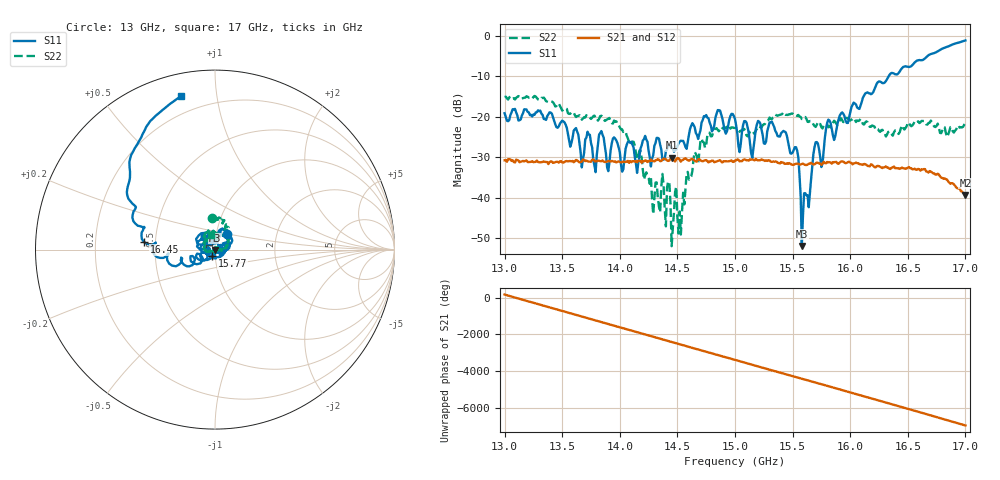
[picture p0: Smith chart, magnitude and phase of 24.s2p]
!Keysight Technologies,P9374A,MY57211807,A.19.30.04
!Date: Friday, May 01, 2026 14:44:55
!Correction: S11(C  2-Port  )
!S21(C  2-Port  )
!S12(C  2-Port  )
!S22(C  2-Port  )
!S2P File: Measurements: S11, S21, S12, S22:
# Hz S  RI  R 50
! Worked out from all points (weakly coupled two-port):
!   401 points, 13 GHz to 17 GHz, reference 50 ohm
!   highest |S21| = -30.12 dB at 14.45 GHz (marker M1); lowest = -39.3 dB at 17 GHz (marker M2)
!   lowest |S11| = -51.9 dB at 15.58 GHz (marker M3), VSWR 1.01, Z = 49.9 - j0.228 ohm
!   |S11| at or under -10 dB: start of sweep to 16.33 GHz
!   |S22| runs from -52.0 to -14.9 dB; largest |S21 - S12| = 0.0011
!   S11 on the Smith chart (normalised r, x): 13 GHz: 1.13, +0.20; 15.77 GHz: 0.97, -0.07; 16.45 GHz: 0.43, +0.04; 17 GHz: 0.11, +0.80
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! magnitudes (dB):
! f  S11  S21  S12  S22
! 13 GHz  -19.2  -30.8  -30.7  -15.2
! 13.4 GHz  -19.0  -31.1  -31.1  -16.2
! 13.67 GHz  -32.5  -31.1  -31.0  -20.7
! 13.72 GHz  -23.7  -31.0  -31.0  -20.1
! 13.97 GHz  -25.9  -31.3  -31.3  -21.1
! 14.02 GHz  -33.6  -31.2  -31.2  -23.1
! 14.34 GHz  -25.4  -30.7  -30.7  -42.3
! 14.45 GHz  -27.6  -30.1  -30.1  -52.0
! 14.52 GHz  -26.2  -30.7  -30.7  -43.4
! 14.71 GHz  -21.4  -31.0  -31.0  -25.5
! 15 GHz  -20.6  -30.8  -30.8  -22.8
! 15.15 GHz  -30.2  -30.6  -30.6  -23.5
! 15.2 GHz  -21.1  -30.8  -30.8  -22.4
! 15.43 GHz  -23.7  -31.7  -31.6  -19.4
! 15.53 GHz  -27.5  -31.7  -31.7  -19.6
! 15.58 GHz  -51.9  -31.7  -31.7  -20.6
! 15.67 GHz  -32.4  -31.6  -31.6  -21.3
! 15.77 GHz  -28.3  -31.2  -31.2  -22.2
! 15.81 GHz  -20.7  -31.3  -31.3  -22.6
! 16.34 GHz  -9.7  -32.9  -32.8  -23.6
! 16.45 GHz  -8.0  -32.6  -32.6  -22.2
! 17 GHz  -1.2  -39.3  -39.2  -21.7
